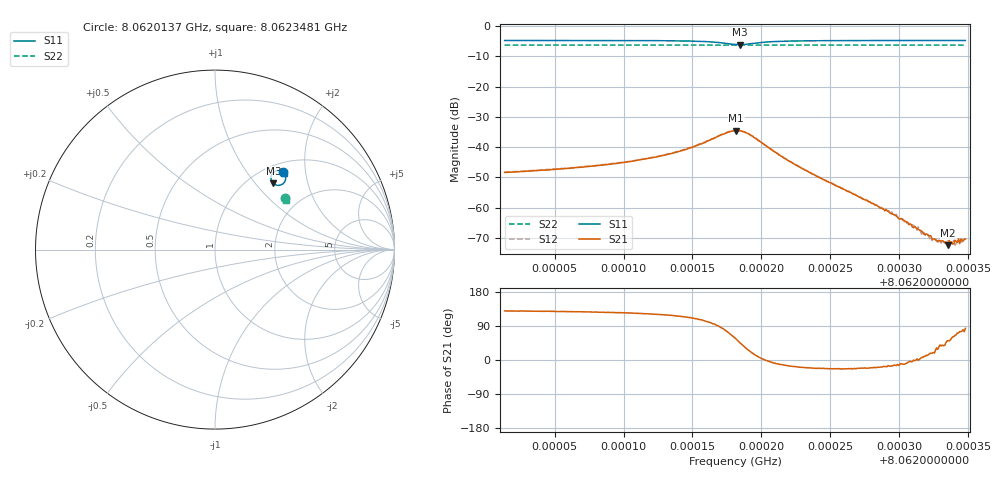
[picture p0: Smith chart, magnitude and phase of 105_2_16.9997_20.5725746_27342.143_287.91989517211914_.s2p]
#  HZ  S  RI  R  50.00
! Rohde & Schwarz Vector Network Analyzer
! Rohde-Schwarz,ZNB20-2Port,1311601062101988,3.16
! Created: UTC 3/20/2024, 10:56:48 PM
! freq[Hz]  re:S11  im:S11  re:S21  im:S21  re:S12  im:S12  re:S22  im:S22
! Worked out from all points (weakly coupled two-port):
!   401 points, 8.0620137 GHz to 8.0623481 GHz, reference 50 ohm
!   highest |S21| = -34.54 dB at 8.0621817 GHz (marker M1); lowest = -72.3 dB at 8.0623355 GHz (marker M2)
!   lowest |S11| = -6.2 dB at 8.0621842 GHz (marker M3), VSWR 2.93, Z = 64.1 + j62.4 ohm
!   |S11| at or under -10 dB: nowhere
!   |S22| runs from -6.4 to -6.3 dB; largest |S21 - S12| = 0.0014
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8.06201367e9  0.3775 0.4345  -0.00244 0.00295  -0.00228 0.00314  0.3872 0.289
8.06206968e9  0.3832 0.4285  -0.00281 0.00371  -0.00262 0.00394  0.3891 0.2863
8.06210312e9  0.3873 0.4227  -0.00324 0.00475  -0.00296 0.00496  0.3903 0.2845
8.06212569e9  0.3911 0.4158  -0.00358 0.00608  -0.00319 0.00638  0.3911 0.283
8.0621491e9  0.3943 0.4006  -0.00352 0.00918  -0.00306 0.00949  0.3918 0.2813
8.06216749e9  0.3849 0.3729  -0.000428 0.0147  0.000423 0.0149  0.3915 0.2795
8.06217585e9  0.3616 0.3589  0.00516 0.0169  0.0063 0.0167  0.3906 0.2788
8.06218086e9  0.3392 0.3603  0.0099 0.0159  0.0111 0.0153  0.3898 0.2789
8.0621817e9  0.3354 0.362  0.0107 0.0154  0.0119 0.0148  0.3897 0.2791
8.06218421e9  0.325 0.369  0.0128 0.0134  0.0138 0.0128  0.3894 0.2794
8.06219173e9  0.3117 0.4006  0.0148 0.00621  0.0151 0.00524  0.3895 0.2807
8.06220344e9  0.3275 0.4316  0.0106 -0.000146  0.0105 -0.000841  0.3913 0.2812
8.06221848e9  0.3478 0.4402  0.006 -0.00158  0.00598 -0.00194  0.3925 0.2805
8.06223688e9  0.3607 0.4399  0.00337 -0.00132  0.0033 -0.00151  0.3937 0.2795
8.06229289e9  0.3762 0.434  0.00081 -0.000233  0.000825 -0.000317  0.3962 0.2765
8.06231044e9  0.3788 0.4324  0.00047 -2.96e-06  0.000509 -7.89e-05  0.3967 0.2756
8.06232131e9  0.3801 0.4316  0.000335 8.52e-05  0.000344 6.63e-05  0.3972 0.275
8.06232382e9  0.3805 0.4313  0.000293 9.49e-05  0.000276 7.78e-05  0.3971 0.2748
8.06232632e9  0.3808 0.4311  0.000266 0.000127  0.000288 0.000105  0.3974 0.2748
8.06233552e9  0.3817 0.4305  0.000152 0.000188  0.000196 0.000212  0.3975 0.2743
8.06234221e9  0.3824 0.4299  8.6e-05 0.000255  0.000101 0.000248  0.3978 0.2738
8.06234806e9  0.383 0.4296  3.44e-05 0.000303  8.18e-05 0.000295  0.3979 0.2736
